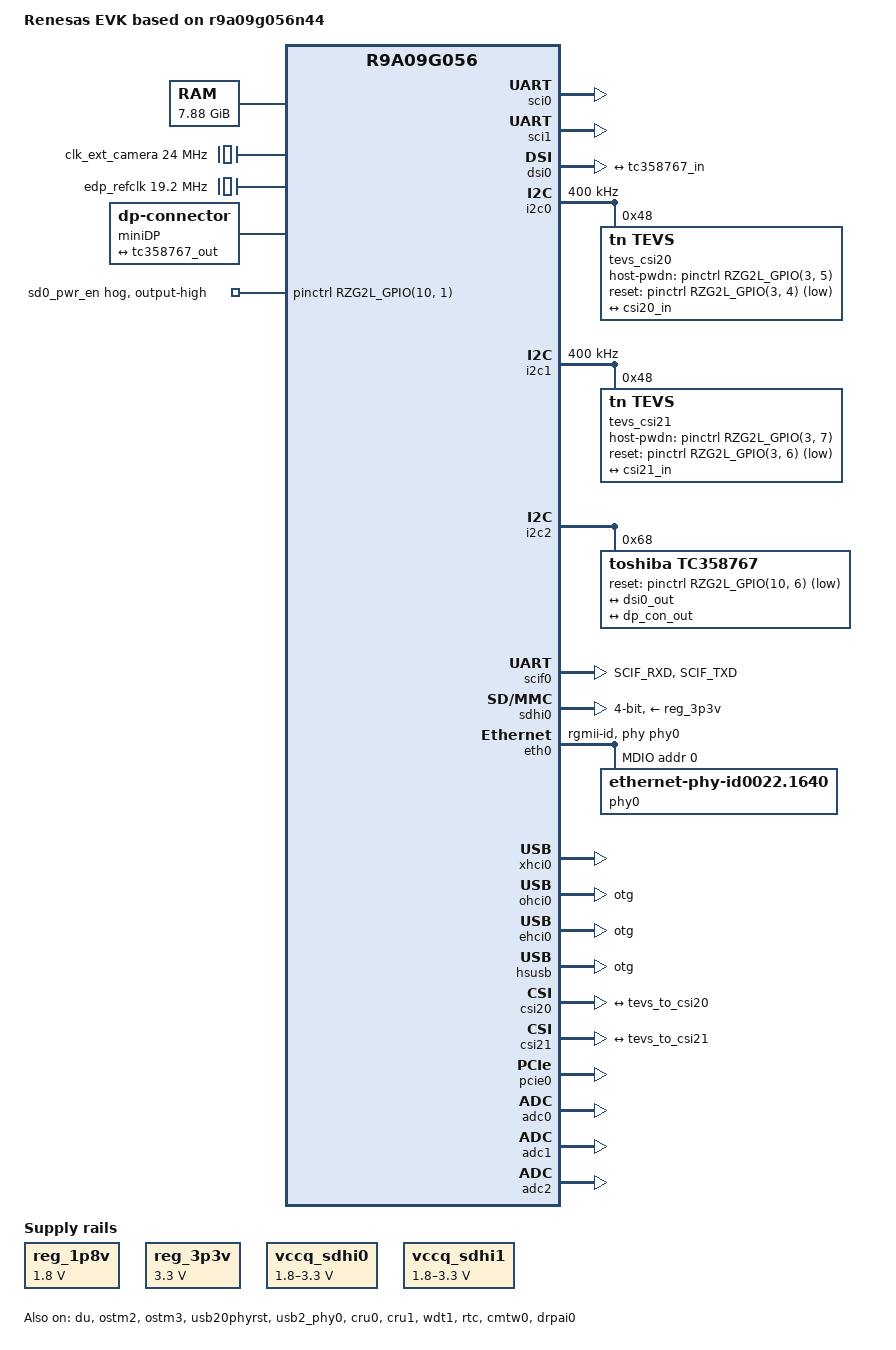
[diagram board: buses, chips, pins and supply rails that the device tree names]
// SPDX-License-Identifier: (GPL-2.0-only OR BSD-2-Clause)
/*
 * Device Tree Source for the RZ/V2N SPOTIQ MXT board variant
 *
 * Copyright (C) 2025 MXT Creation SRL
 */

/dts-v1/;
#include "r9a09g056.dtsi"
#include <dt-bindings/pinctrl/rzg2l-pinctrl.h>
#include <dt-bindings/gpio/gpio.h>

/ {
	model = "Renesas EVK based on r9a09g056n44";
	compatible = "renesas,r9a09g056n44-evk", "renesas,r9a09g056n44", "renesas,r9a09g056";

	aliases {
		serial0 = &scif0;
		serial1 = &sci0;
		serial2 = &sci1;
		mmc0 = &sdhi0;
		mmc2 = &sdhi2;
		ethernet0 = &eth0;
	};
	
	chosen {
		bootargs = "ignore_loglevel";
		stdout-path = "serial0:115200n8";
	};

	memory@48000000 {
		device_type = "memory";
		/* first 128MB is reserved for secure area. */
		reg = <0x0 0x48000000 0x1 0xF8000000>;
	};

	reserved-memory {
		#address-cells = <2>;
		#size-cells = <2>;
		ranges;

		global_cma: linux,cma@58000000 {
			compatible = "shared-dma-pool";
			linux,cma-default;
			reusable;
			reg = <0x0 0x58000000 0x0 0x10000000>;
		};

		mmp_reserved: linux,multimedia {
			compatible = "shared-dma-pool";
			reusable;
			reg = <0x00000000 0x68000000 0x0 0x20000000>;
		};

		drp_reserved: DRP-AI@D0000000 {
			reusable;
			reg = <0x0 0xD0000000 0x0 0x20000000>;
		};

		image_buf0: image_buf@B0000000 {
			compatible = "shared-dma-pool";
			reusable;
			reg = <0x0 0xB0000000 0x0 0x4000000>;
			label = "image_buf0";
		};

		shared_drp_reserved: SharedDRP@C7CFF000 {
			reusable;
			reg = <0x0 0xC7CFF000 0x0 0x00001000>;
		};
	};

	mmngr {
		compatible = "renesas,mmngr";
		memory-region = <&mmp_reserved>;
	};

	mmngrbuf {
		compatible = "renesas,mmngrbuf";
	};

	vspm_if {
		compatible = "renesas,vspm_if";
	};
	
		reg_1p8v: regulator0 {
		compatible = "regulator-fixed";

		regulator-name = "fixed-1.8V";
		regulator-min-microvolt = <1800000>;
		regulator-max-microvolt = <1800000>;
		regulator-boot-on;
		regulator-always-on;
	};

	reg_3p3v: regulator1 {
		compatible = "regulator-fixed";

		regulator-name = "fixed-3.3V";
		regulator-min-microvolt = <3300000>;
		regulator-max-microvolt = <3300000>;
		regulator-boot-on;
		regulator-always-on;
	};

	vccq_sdhi0: regulator-vccq-sdhi0 {
		compatible = "regulator-gpio";

		regulator-name = "SDHI0 VccQ";
		regulator-min-microvolt = <1800000>;
		regulator-max-microvolt = <3300000>;

		gpios = <&pinctrl RZG2L_GPIO(10, 0) GPIO_ACTIVE_HIGH>;

		gpios-states = <0>;
		states = <3300000 0 1800000 1>;
	};

	vccq_sdhi1: regulator-vccq-sdhi1 {
		compatible = "regulator-gpio";

		regulator-name = "SDHI1 VccQ";
		regulator-min-microvolt = <1800000>;
		regulator-max-microvolt = <3300000>;

		gpios = <&pinctrl RZG2L_GPIO(10, 2) GPIO_ACTIVE_HIGH>;

		gpios-states = <0>;
		states = <3300000 0 1800000 1>;
	};

        clk_ext_camera: clk_ext_camera {
                compatible = "fixed-clock";
                #clock-cells = <0>;
                clock-frequency = <24000000>;
        };
	
	edp_refclk: edp_refclk {
		compatible = "fixed-clock";
		#clock-cells = <0>;
		clock-frequency = <19200000>;
	};
	
	dp-out {
		compatible = "dp-connector";
		label = "miniDP";

		port {
			dp_con_out: endpoint {
				remote-endpoint = <&tc358767_out>;
			};
		};
	};
	
	udmabuf@0 {
		compatible = "ikwzm,u-dma-buf";
		device-name = "udmabuf0";
		minor-number = <0>;
		size = <0x4000000>; // 64MiB
		dma-coherent;
		memory-region = <&image_buf0>;
	};
	
	soc: soc {
		sci0: serial@12800c00 {
			compatible = "renesas,r9a09g056-rz-rsci", "renesas,rz-rsci";
			reg = <0 0x12800c00 0 0x400>;
			interrupts = <GIC_SPI 114 IRQ_TYPE_LEVEL_HIGH>,
				     <GIC_SPI 115 IRQ_TYPE_EDGE_RISING>,
				     <GIC_SPI 116 IRQ_TYPE_EDGE_RISING>,
				     <GIC_SPI 117 IRQ_TYPE_LEVEL_HIGH>;
			interrupt-names = "eri", "rxi", "txi", "tei";
			clocks = <&cpg CPG_MOD R9A09G056_RSCI0_PCLK>,
				<&cpg CPG_MOD R9A09G056_RSCI0_TCLK>;
			clock-names = "fck", "tclk";
			power-domains = <&cpg>;
			resets = <&cpg R9A09G056_RSCI0_PRESETN>;
			status = "disabled";
		};

		sci1: serial@12801000 {
			compatible = "renesas,r9a09g056-rz-rsci", "renesas,rz-rsci";
			reg = <0 0x12801000 0 0x400>;
			interrupts = <GIC_SPI 120 IRQ_TYPE_LEVEL_HIGH>,
				     <GIC_SPI 121 IRQ_TYPE_EDGE_RISING>,
				     <GIC_SPI 122 IRQ_TYPE_EDGE_RISING>,
				     <GIC_SPI 123 IRQ_TYPE_LEVEL_HIGH>;
			interrupt-names = "eri", "rxi", "txi", "tei";
			clocks = <&cpg CPG_MOD R9A09G056_RSCI1_PCLK>,
				<&cpg CPG_MOD R9A09G056_RSCI1_TCLK>;
			clock-names = "fck", "tclk";
			power-domains = <&cpg>;
			resets = <&cpg R9A09G056_RSCI1_PRESETN>;
			status = "disabled";
		};
	};
};

&pinctrl {

        i2c0_pins: i2c0 {
                pinmux = <RZG2L_PORT_PINMUX(3, 0, 1)>, /* I2C0_SDA */
                         <RZG2L_PORT_PINMUX(3, 1, 1)>; /* I2C0_SCL */
        };

        i2c1_pins: i2c1 {
                pinmux = <RZG2L_PORT_PINMUX(3, 2, 1)>, /* I2C1_SDA */
                         <RZG2L_PORT_PINMUX(3, 3, 1)>; /* I2C1_SCL */
        };
        
        i2c2_pins: i2c2 {
		pinmux = <RZG2L_PORT_PINMUX(2, 0, 4)>, /* I2C2_SDA */
			 <RZG2L_PORT_PINMUX(2, 1, 4)>; /* I2C2_SCL */
	};

	scif0_pins: scif0 {
		pins =  "SCIF_RXD", "SCIF_TXD";
	};

	sd0_pwr_en {
		gpio-hog;
		gpios = <RZG2L_GPIO(10, 1) GPIO_ACTIVE_HIGH>;
		output-high;
		line-name = "sd0_pwr_en";
	};
	
	/* Support pinctrl for SD function of SDHI0 */
	sdhi0_pins: sd0 {
		sd0_mux {
			pinmux = <RZG2L_PORT_PINMUX(10, 5, 15)>; /* SD0_CD */
		};
	};
	
	sci0_pins: sci0 {
		pinmux = <RZG2L_PORT_PINMUX(5, 0, 1)>, /* SCI0_TXD_MOSI_SDA */
			 <RZG2L_PORT_PINMUX(5, 1, 1)>; /* SCI0_RXD_MISO_SCL */
	};

	sci1_pins: sci1 {
		pinmux = <RZG2L_PORT_PINMUX(5, 2, 1)>, /* SCI1_TXD_MOSI_SDA */
			 <RZG2L_PORT_PINMUX(5, 3, 1)>; /* SCI1_RXD_MISO_SCL */
	};
};

&du {
	status = "okay";
};

&dsi0 {
	status = "okay";

	ports {
		port@1 {
			reg = <1>;
			dsi0_out: endpoint {
				remote-endpoint = <&tc358767_in>;
				data-lanes = <0 1 2 3>;
			};
		};
	};
};

&extal_clk {
	clock-frequency = <24000000>;
};

&i2c0 {
        pinctrl-0 = <&i2c0_pins>;
        pinctrl-names = "default";

        status = "okay";
        clock-frequency = <400000>;
        
        tevs_csi20: tevs_csi20@48 {
		compatible = "tn,tevs";
		reg = <0x48>;

		continuous-clock = <0>;
		data-lanes = <2>;
		data-frequency = <800>;
		//hw-reset; // keep the camera off, when unused
		
		host-pwdn-gpios = <&pinctrl RZG2L_GPIO(3, 5) GPIO_ACTIVE_HIGH>;
		reset-gpios = <&pinctrl RZG2L_GPIO(3, 4) GPIO_ACTIVE_LOW>;

		port {
			tevs_to_csi20: endpoint {
				clock-lanes = <0>;
				data-lanes = <1 2>;
				remote-endpoint = <&csi20_in>;
			};
		};
	};  
};

&i2c1 {
        pinctrl-0 = <&i2c1_pins>;
        pinctrl-names = "default";

        status = "okay";
        clock-frequency = <400000>;

        tevs_csi21: tevs_csi21@48 {
		compatible = "tn,tevs";
		reg = <0x48>;

		continuous-clock = <0>;
		data-lanes = <2>;
		data-frequency = <800>;
		//hw-reset; // keep the camera off, when unused
		
		host-pwdn-gpios = <&pinctrl RZG2L_GPIO(3, 7) GPIO_ACTIVE_HIGH>;
		reset-gpios = <&pinctrl RZG2L_GPIO(3, 6) GPIO_ACTIVE_LOW>;

		port {
			tevs_to_csi21: endpoint {
				clock-lanes = <0>;
				data-lanes = <1 2>;
				remote-endpoint = <&csi21_in>;
			};
		};
	};
};

&i2c2 {
	pinctrl-0 = <&i2c2_pins>;
	pinctrl-names = "default";

	status = "okay";

	tc358767: dp-bridge@68 {
		compatible = "toshiba,tc358767";
		reg = <0x68>;
		clock-names = "ref";
                clocks = <&edp_refclk>;
                toshiba,hpd-pin = <0>;
                interrupts = <RZG2L_GPIO(10, 2) IRQ_TYPE_LEVEL_LOW>;
                reset-gpios = <&pinctrl RZG2L_GPIO(10, 6) GPIO_ACTIVE_LOW>;

		ports {
			#address-cells = <1>;
			#size-cells = <0>;

			port@0 {
				reg = <0>;
				tc358767_in: endpoint {
					remote-endpoint = <&dsi0_out>;
					data-lanes = <0 1 2 3>;
				};
			};

			port@2 {
				reg = <2>;
				tc358767_out: endpoint {
					remote-endpoint = <&dp_con_out>;
				};
			};
		};
	};
};

&ostm2 {
	status = "okay";
};

&ostm3 {
	status = "okay";
};

&scif0 {
	pinctrl-0 = <&scif0_pins>;
	pinctrl-names = "default";

	status = "okay";
};

&sdhi0 {
	pinctrl-0 = <&sdhi0_pins>;
	pinctrl-names = "default";

	vmmc-supply = <&reg_3p3v>;
	vqmmc-supply = <&vccq_sdhi0>;

	bus-width = <4>;
	sd-uhs-sdr50;
	sd-uhs-sdr104;
	status = "okay";
};

&eth0 {
	phy-handle = <&phy0>;
	phy-mode = "rgmii-id";
	status = "okay";

	mdio {
		#address-cells = <1>;
		#size-cells = <0>;
		phy0: ethernet-phy@0 {
			compatible = "ethernet-phy-id0022.1640",
				     "ethernet-phy-ieee802.3-c22";
			reg = <0>;
			rxc-skew-psec = <1400>;
			txc-skew-psec = <1400>;
			rxdv-skew-psec = <0>;
			txdv-skew-psec = <0>;
			rxd0-skew-psec = <0>;
			rxd1-skew-psec = <0>;
			rxd2-skew-psec = <0>;
			rxd3-skew-psec = <0>;
			txd0-skew-psec = <0>;
			txd1-skew-psec = <0>;
			txd2-skew-psec = <0>;
			txd3-skew-psec = <0>;
		};
	};
};

&xhci0 {
	memory-region = <&global_cma>;
	status = "okay";
};

&usb20phyrst {
	status = "okay";
};

&ohci0 {
	memory-region = <&global_cma>;

	dr_mode = "otg";
	status = "okay";
};

&ehci0 {
	memory-region = <&global_cma>;

	dr_mode = "otg";
	status = "okay";
};

&hsusb {
	dr_mode = "otg";
	status = "okay";
};

&usb2_phy0 {
	status = "okay";
};

&cru0 {
       status = "okay";
};

&csi20 {
	status = "okay";

	ports {
		port {
			csi20_in: endpoint {
				clock-lanes = <0>;
				data-lanes = <1 2>;
				remote-endpoint = <&tevs_to_csi20>;
			};
		};
	};
};

&cru1 {
       status = "okay";
};

&csi21 {
       status = "okay";

       ports {
               port {
                       csi21_in: endpoint {
                               clock-lanes = <0>;
                                data-lanes = <1 2>;
                                remote-endpoint = <&tevs_to_csi21>;
                       };
               };
       };
};

&wdt1 {
        status = "okay";
};

&rtc {
        status = "okay";
};

&cmtw0 {
        status = "okay";
};

&pcie0 {
	/* Map all possible DDR as inbound ranges */
	dma-ranges = <0x42000000 0 0x40000000 0 0x40000000 0x2 0x00000000>;

	status = "okay";
};

&adc0 {
	status = "okay";
};

&adc1 {
	status = "okay";
};

&adc2 {
	status = "okay";
};

&drpai0 {
	memory-region = <&drp_reserved>;
	image-memory-region = <&image_buf0>;
	memory-shared-for-drpai-ext-cont = <&shared_drp_reserved>;
	status = "okay";
};
		
&sci0 {
	pinctrl-0 = <&sci0_pins>;
	pinctrl-names = "default";
	status = "okay";
};

&sci1 {
	pinctrl-0 = <&sci1_pins>;
	pinctrl-names = "default";
	status = "okay";
};

